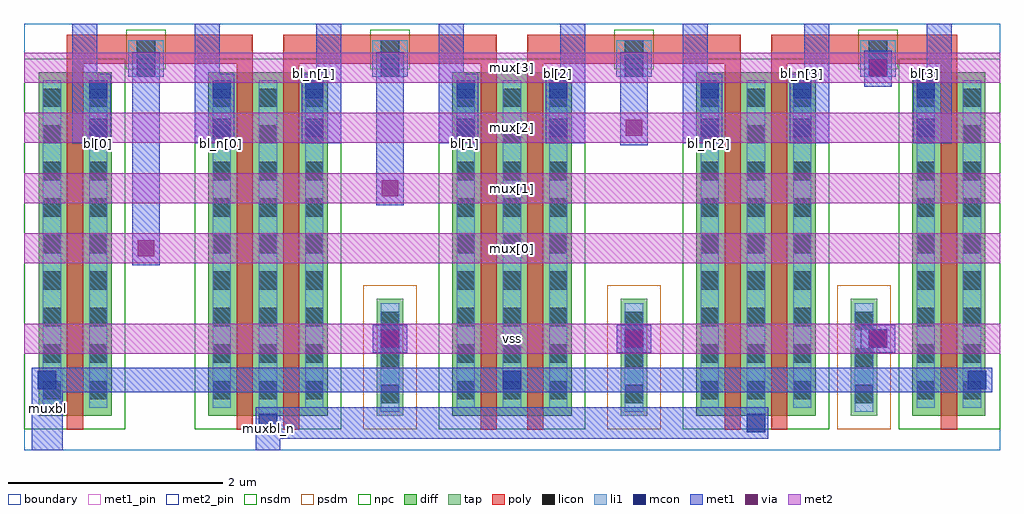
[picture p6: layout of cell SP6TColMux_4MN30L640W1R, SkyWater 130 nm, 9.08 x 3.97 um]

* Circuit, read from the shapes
.subckt SP6TColMux_4MN30L640W1R bl[0] bl[1] bl[2] bl[3] bl_n[0] bl_n[1] bl_n[2] bl_n[3] mux[0] mux[1] mux[2] mux[3] muxbl muxbl_n vss
XM1 bl[0] mux[0] muxbl vss sky130_fd_pr__nfet_01v8 w=3.2 l=0.15
XM2 muxbl_n mux[0] bl_n[0] vss sky130_fd_pr__nfet_01v8 w=3.2 l=0.15
XM3 bl_n[1] mux[1] muxbl_n vss sky130_fd_pr__nfet_01v8 w=3.2 l=0.15
XM4 muxbl mux[1] bl[1] vss sky130_fd_pr__nfet_01v8 w=3.2 l=0.15
XM5 bl[2] mux[2] muxbl vss sky130_fd_pr__nfet_01v8 w=3.2 l=0.15
XM6 muxbl_n mux[2] bl_n[2] vss sky130_fd_pr__nfet_01v8 w=3.2 l=0.15
XM7 bl_n[3] mux[3] muxbl_n vss sky130_fd_pr__nfet_01v8 w=3.2 l=0.15
XM8 muxbl mux[3] bl[3] vss sky130_fd_pr__nfet_01v8 w=3.2 l=0.15
.ends

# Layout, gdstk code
import gdstk
lib = gdstk.Library(unit=1e-6, precision=1e-09)
def R(c, l, rs):  # rectangles x0, y0, x1, y1
    for r in rs: c.add(gdstk.rectangle(r[:2], r[2:], *l))
def A(c, l, x, y, w, h, nx, ny, dx, dy):  # array of equal rectangles
    R(c, l, [(x+i*dx, y+j*dy, x+i*dx+w, y+j*dy+h) for i in range(nx) for j in range(ny)])
def P(c, l, *ps):  # polygons
    for p in ps: c.add(gdstk.Polygon(p, *l))
diff = (65, 20)
tap = (65, 44)
poly = (66, 20)
licon = (66, 44)
li1 = (67, 20)
mcon = (67, 44)
met1_pin = (68, 16)
met1 = (68, 20)
via = (68, 44)
met2_pin = (69, 16)
met2 = (69, 20)
nsdm = (93, 44)
psdm = (94, 20)
npc = (95, 20)
boundary = (235, 4)

sp6tcolmux_4mn30l640w1r = lib.new_cell('SP6TColMux_4MN30L640W1R')
A(sp6tcolmux_4mn30l640w1r, diff, 1.715, 0.32, 1.11, 3.2, 3, 1, 2.27, 0)
R(sp6tcolmux_4mn30l640w1r, diff, [(0.135,0.32,0.815,3.52), (8.265,0.32,8.945,3.52)])
R(sp6tcolmux_4mn30l640w1r, tap, [(3.28,0.32,3.53,1.41), (5.55,0.32,5.8,1.41), (7.69,0.32,7.94,1.41)])
P(sp6tcolmux_4mn30l640w1r, poly, [(2.41,0.19),(2.41,3.865),(4.4,3.865),(4.4,0.19),(4.25,0.19),(4.25,3.595),(2.56,3.595),(2.56,0.19)],
  [(4.68,0.19),(4.68,3.865),(6.67,3.865),(6.67,0.19),(6.52,0.19),(6.52,3.595),(4.83,3.595),(4.83,0.19)],
  [(0.4,0.19),(0.4,3.865),(2.13,3.865),(2.13,0.19),(1.98,0.19),(1.98,3.595),(0.55,3.595),(0.55,0.19)],
  [(6.95,0.19),(6.95,3.865),(8.68,3.865),(8.68,0.19),(8.53,0.19),(8.53,3.595),(7.1,3.595),(7.1,0.19)])
A(sp6tcolmux_4mn30l640w1r, licon, 3.32, 0.44, 0.17, 0.17, 1, 3, 0, 0.34)
A(sp6tcolmux_4mn30l640w1r, licon, 5.59, 0.44, 0.17, 0.17, 1, 3, 0, 0.34)
A(sp6tcolmux_4mn30l640w1r, licon, 7.73, 0.44, 0.17, 0.17, 1, 3, 0, 0.34)
A(sp6tcolmux_4mn30l640w1r, licon, 0.175, 0.475, 0.17, 0.17, 1, 9, 0, 0.34)
A(sp6tcolmux_4mn30l640w1r, licon, 0.605, 0.475, 0.17, 0.17, 1, 9, 0, 0.34)
A(sp6tcolmux_4mn30l640w1r, licon, 1.755, 0.475, 0.17, 0.17, 3, 9, 0.43, 0.34)
A(sp6tcolmux_4mn30l640w1r, licon, 4.025, 0.475, 0.17, 0.17, 3, 9, 0.43, 0.34)
A(sp6tcolmux_4mn30l640w1r, licon, 6.295, 0.475, 0.17, 0.17, 3, 9, 0.43, 0.34)
A(sp6tcolmux_4mn30l640w1r, licon, 8.305, 0.475, 0.17, 0.17, 1, 9, 0, 0.34)
A(sp6tcolmux_4mn30l640w1r, licon, 8.735, 0.475, 0.17, 0.17, 1, 9, 0, 0.34)
A(sp6tcolmux_4mn30l640w1r, licon, 1.05, 3.645, 0.17, 0.17, 4, 1, 2.27, 0)
A(sp6tcolmux_4mn30l640w1r, li1, 4.025, 0.395, 0.17, 3.05, 3, 1, 0.43, 0)
A(sp6tcolmux_4mn30l640w1r, li1, 0.97, 3.475, 0.33, 0.34, 4, 1, 2.27, 0)
R(sp6tcolmux_4mn30l640w1r, li1, [(2.185,0.17,2.355,3.445), (6.725,0.17,6.895,3.445), (3.32,0.36,3.49,1.37), (5.59,0.36,5.76,1.37), (0.605,0.395,0.775,3.445), (1.755,0.395,1.925,3.445), (2.615,0.395,2.785,3.445), (6.295,0.395,6.465,3.445), (7.155,0.395,7.325,3.445), (8.305,0.395,8.475,3.445)])
P(sp6tcolmux_4mn30l640w1r, li1, [(8.735,0.395),(8.735,3.445),(8.905,3.445),(8.905,0.74),(8.95,0.74),(8.95,0.57),(8.905,0.57),(8.905,0.395)],
  [(0.175,0.395),(0.175,0.57),(0.13,0.57),(0.13,0.74),(0.175,0.74),(0.175,3.445),(0.345,3.445),(0.345,0.395)],
  [(7.73,0.36),(7.73,1.37),(7.9,1.37),(7.9,1.125),(8.03,1.125),(8.03,0.955),(7.9,0.955),(7.9,0.36)])
A(sp6tcolmux_4mn30l640w1r, mcon, 0.13, 0.57, 0.17, 0.17, 3, 1, 4.325, 0)
A(sp6tcolmux_4mn30l640w1r, mcon, 3.32, 0.955, 0.17, 0.17, 3, 1, 2.27, 0)
A(sp6tcolmux_4mn30l640w1r, mcon, 1.05, 3.475, 0.17, 0.17, 4, 1, 2.27, 0)
R(sp6tcolmux_4mn30l640w1r, mcon, [(2.185,0.17,2.355,0.34), (6.725,0.17,6.895,0.34), (0.605,2.915,0.775,3.085), (1.755,2.915,1.925,3.085), (2.615,2.915,2.785,3.085), (4.025,2.915,4.195,3.085), (4.885,2.915,5.055,3.085), (6.295,2.915,6.465,3.085), (7.155,2.915,7.325,3.085), (8.305,2.915,8.475,3.085), (0.605,3.275,0.775,3.445), (1.755,3.275,1.925,3.445), (2.615,3.275,2.785,3.445), (4.025,3.275,4.195,3.445), (4.885,3.275,5.055,3.445), (6.295,3.275,6.465,3.445), (7.155,3.275,7.325,3.445), (8.305,3.275,8.475,3.445)])
R(sp6tcolmux_4mn30l640w1r, met1_pin, [(0.07,0,0.36,0.77), (2.155,0,2.385,0.4)])
P(sp6tcolmux_4mn30l640w1r, met1_pin, [(8.39,2.855),(8.39,3.505),(8.4,3.505),(8.4,3.97),(8.63,3.97),(8.63,2.855)],
  [(2.7,2.855),(2.7,3.505),(2.72,3.505),(2.72,3.97),(2.95,3.97),(2.95,2.855)],
  [(4.97,2.855),(4.97,3.505),(4.99,3.505),(4.99,3.97),(5.22,3.97),(5.22,2.855)],
  [(7.24,2.855),(7.24,3.505),(7.26,3.505),(7.26,3.97),(7.49,3.97),(7.49,2.855)],
  [(1.59,2.855),(1.59,3.97),(1.82,3.97),(1.82,3.505),(1.84,3.505),(1.84,2.855)],
  [(3.86,2.855),(3.86,3.97),(4.09,3.97),(4.09,3.505),(4.11,3.505),(4.11,2.855)],
  [(6.13,2.855),(6.13,3.97),(6.36,3.97),(6.36,3.505),(6.38,3.505),(6.38,2.855)],
  [(0.45,2.855),(0.45,3.97),(0.68,3.97),(0.68,3.505),(0.69,3.505),(0.69,2.855)])
A(sp6tcolmux_4mn30l640w1r, met1, 3.245, 0.91, 0.32, 0.26, 3, 1, 2.27, 0)
R(sp6tcolmux_4mn30l640w1r, met1, [(1.005,1.72,1.265,3.705), (3.275,2.28,3.535,3.705), (5.545,2.84,5.805,3.705), (7.815,3.385,8.075,3.72)])
P(sp6tcolmux_4mn30l640w1r, met1, [(1.59,2.855),(1.59,3.97),(1.82,3.97),(1.82,3.505),(1.955,3.505),(1.955,2.855)],
  [(3.86,2.855),(3.86,3.97),(4.09,3.97),(4.09,3.505),(4.225,3.505),(4.225,2.855)],
  [(6.13,2.855),(6.13,3.97),(6.36,3.97),(6.36,3.505),(6.495,3.505),(6.495,2.855)],
  [(8.275,2.855),(8.275,3.505),(8.4,3.505),(8.4,3.97),(8.63,3.97),(8.63,2.855)],
  [(0.45,2.855),(0.45,3.97),(0.68,3.97),(0.68,3.505),(0.805,3.505),(0.805,2.855)],
  [(2.585,2.855),(2.585,3.505),(2.72,3.505),(2.72,3.97),(2.95,3.97),(2.95,2.855)],
  [(4.855,2.855),(4.855,3.505),(4.99,3.505),(4.99,3.97),(5.22,3.97),(5.22,2.855)],
  [(7.125,2.855),(7.125,3.505),(7.26,3.505),(7.26,3.97),(7.49,3.97),(7.49,2.855)],
  [(0.07,0),(0.07,0.77),(9.01,0.77),(9.01,0.54),(0.36,0.54),(0.36,0)],
  [(2.155,0),(2.155,0.4),(6.925,0.4),(6.925,0.11),(2.385,0.11),(2.385,0)])
A(sp6tcolmux_4mn30l640w1r, via, 3.33, 0.965, 0.15, 0.15, 3, 1, 2.27, 0)
R(sp6tcolmux_4mn30l640w1r, via, [(1.06,1.805,1.21,1.955), (3.33,2.365,3.48,2.515), (5.6,2.925,5.75,3.075), (7.87,3.485,8.02,3.635)])
A(sp6tcolmux_4mn30l640w1r, met2_pin, 0, 1.74, 9.08, 0.28, 1, 4, 0, 0.56)
R(sp6tcolmux_4mn30l640w1r, met2_pin, [(0,0.9,9.08,1.18)])
A(sp6tcolmux_4mn30l640w1r, met2, 0, 1.74, 9.08, 0.28, 1, 4, 0, 0.56)
R(sp6tcolmux_4mn30l640w1r, met2, [(0,0.9,9.08,1.18)])
A(sp6tcolmux_4mn30l640w1r, nsdm, 1.59, 0.195, 1.36, 3.45, 3, 1, 2.27, 0)
R(sp6tcolmux_4mn30l640w1r, nsdm, [(0,0.195,0.94,3.645), (8.14,0.195,9.08,3.645)])
R(sp6tcolmux_4mn30l640w1r, psdm, [(3.155,0.195,3.655,1.535), (5.425,0.195,5.925,1.535), (7.565,0.195,8.065,1.535)])
A(sp6tcolmux_4mn30l640w1r, npc, 0.95, 3.545, 0.37, 0.37, 4, 1, 2.27, 0)
R(sp6tcolmux_4mn30l640w1r, boundary, [(0,0,9.08,3.97)])
sp6tcolmux_4mn30l640w1r.add(gdstk.Label('mux[3]', (4.54,3.56), layer=69, texttype=16))
sp6tcolmux_4mn30l640w1r.add(gdstk.Label('mux[2]', (4.54,3), layer=69, texttype=16))
sp6tcolmux_4mn30l640w1r.add(gdstk.Label('mux[1]', (4.54,2.44), layer=69, texttype=16))
sp6tcolmux_4mn30l640w1r.add(gdstk.Label('mux[0]', (4.54,1.88), layer=69, texttype=16))
sp6tcolmux_4mn30l640w1r.add(gdstk.Label('vss', (4.54,1.04), layer=69, texttype=16))
sp6tcolmux_4mn30l640w1r.add(gdstk.Label('bl_n[3]', (7.24,3.505), layer=68, texttype=16))
sp6tcolmux_4mn30l640w1r.add(gdstk.Label('bl[2]', (4.97,3.505), layer=68, texttype=16))
sp6tcolmux_4mn30l640w1r.add(gdstk.Label('bl_n[1]', (2.7,3.505), layer=68, texttype=16))
sp6tcolmux_4mn30l640w1r.add(gdstk.Label('bl[3]', (8.39,3.505), layer=68, texttype=16))
sp6tcolmux_4mn30l640w1r.add(gdstk.Label('bl_n[2]', (6.38,2.855), layer=68, texttype=16))
sp6tcolmux_4mn30l640w1r.add(gdstk.Label('muxbl_n', (2.27,0.2), layer=68, texttype=16))
sp6tcolmux_4mn30l640w1r.add(gdstk.Label('bl[1]', (4.11,2.855), layer=68, texttype=16))
sp6tcolmux_4mn30l640w1r.add(gdstk.Label('bl_n[0]', (1.84,2.855), layer=68, texttype=16))
sp6tcolmux_4mn30l640w1r.add(gdstk.Label('bl[0]', (0.69,2.855), layer=68, texttype=16))
sp6tcolmux_4mn30l640w1r.add(gdstk.Label('muxbl', (0.215,0.385), layer=68, texttype=16))

lib.write_gds('SP6TColMux_4MN30L640W1R.gds')
